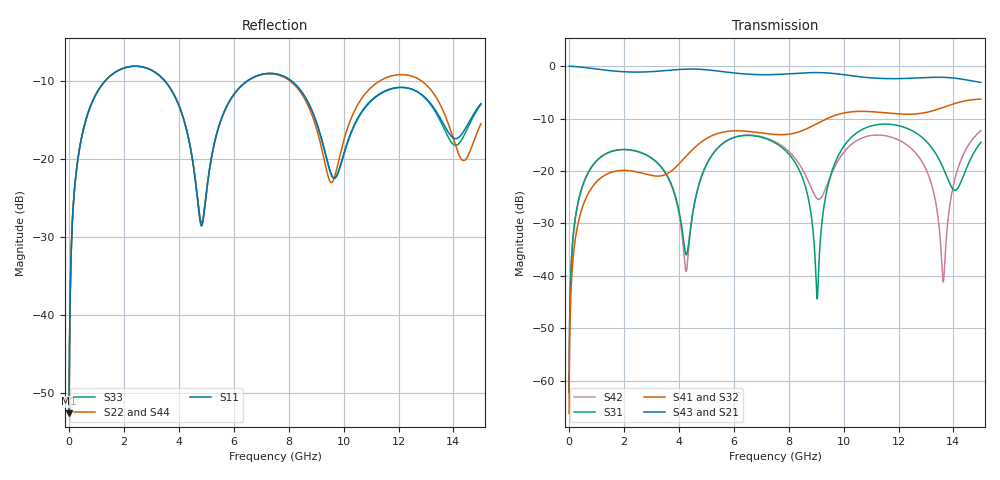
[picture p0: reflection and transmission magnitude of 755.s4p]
! Created with skrf 1.8.0 (http://scikit-rf.org).
# GHz S RI R 50.0
!freq ReS11 ImS11 ReS12 ImS12 ReS13 ImS13
! ReS14 ImS14
! ReS21 ImS21 ReS22 ImS22 ReS23 ImS23
! ReS24 ImS24
! ReS31 ImS31 ReS32 ImS32 ReS33 ImS33
! ReS34 ImS34
! ReS41 ImS41 ReS42 ImS42 ReS43 ImS43
! ReS44 ImS44
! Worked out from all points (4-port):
!   2499 points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, 5 MHz to 15 GHz, reference 50 ohm
!   strongest paths, dB at 5 MHz, 3.476 GHz, 7.19 GHz, 11.1 GHz, 15 GHz:
!     S43: 0.0, -0.9, -1.6, -2.3, -3.1
!     S21: 0.0, -0.9, -1.6, -2.3, -3.1
!     S41: -66.2, -20.8, -12.9, -8.7, -6.3
!     S32: -66.2, -20.8, -12.9, -8.8, -6.3
!     S31: -62.2, -20.1, -13.9, -11.3, -14.5
!     S42: -62.2, -20.2, -13.8, -13.2, -12.3
!   lowest |S11| = -52.7 dB at 5 MHz (marker M1), VSWR 1.00, Z = 50.2 + j0.141 ohm
!   |S11| at or under -10 dB: start of sweep to 1.326 GHz; 3.479 GHz to 6.51 GHz (3.031 GHz wide, 60.7 % of centre); 8.088 GHz to end of sweep
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0.005  0.00186 0.00141  0.9981 -0.00361  9.52e-05 0.000771  -9.22e-05 -0.000478
       0.9981 -0.00361  0.00186 0.00141  -9.22e-05 -0.000478  9.52e-05 0.000771
       9.52e-05 0.000771  -9.22e-05 -0.000478  0.00186 0.00141  0.9981 -0.00361
       -9.22e-05 -0.000478  9.52e-05 0.000771  0.9981 -0.00361  0.00186 0.00141
1.369321  0.2695 0.1767  0.5492 -0.7284  0.1327 0.0633  -0.0928 -0.00625
          0.5492 -0.7284  0.2698 0.1765  -0.0927 -0.00631  0.1316 0.0648
          0.1327 0.0633  -0.0927 -0.00631  0.2695 0.1767  0.5492 -0.7283
          -0.0928 -0.00625  0.1316 0.0648  0.5492 -0.7283  0.2698 0.1765
4.651938  0.0391 -0.0465  -0.9187 -0.1733  -0.0134 0.06  -0.0303 0.1713
          -0.9187 -0.1733  0.0397 -0.0473  -0.031 0.1711  -0.00915 0.0611
          -0.0134 0.06  -0.031 0.1711  0.0407 -0.0469  -0.9186 -0.1735
          -0.0303 0.1713  -0.00915 0.0611  -0.9186 -0.1735  0.0384 -0.0482
7.521884  0.3469 -0.0453  0.00881 0.8303  0.1674 -0.0766  0.2094 -0.076
          0.00881 0.8303  0.3438 -0.0499  0.2088 -0.0731  0.1653 -0.0909
          0.1674 -0.0766  0.2088 -0.0731  0.3461 -0.0489  0.00898 0.8308
          0.2094 -0.076  0.1653 -0.0909  0.00898 0.8308  0.3419 -0.0463
9.035015  0.1172 -0.1186  0.7189 0.485  -0.00584 -0.00143  0.1497 -0.2405
          0.7189 0.485  0.1067 -0.1072  0.1531 -0.2383  -0.0481 -0.0256
          -0.00584 -0.00143  0.1531 -0.2383  0.1148 -0.1188  0.7195 0.4845
          0.1497 -0.2405  -0.0481 -0.0256  0.7195 0.4845  0.1073 -0.1048
13.63068  0.1582 -0.0558  -0.5121 -0.5885  -0.0438 -0.0968  -0.2909 0.2798
          -0.5121 -0.5885  0.1512 -0.1338  -0.2975 0.2721  -0.0076 -0.00427
          -0.0438 -0.0968  -0.2975 0.2721  0.1469 -0.0619  -0.5148 -0.5877
          -0.2909 0.2798  -0.0076 -0.00427  -0.5148 -0.5877  0.154 -0.1228
15  0.2133 0.0717  -0.6973 0.0318  0.0917 0.1635  0.0816 0.4773
    -0.6973 0.0318  0.1547 0.0634  0.0726 0.4798  0.1162 0.2127
    0.0917 0.1635  0.0726 0.4798  0.2077 0.0792  -0.6966 0.0351
    0.0816 0.4773  0.1162 0.2127  -0.6966 0.0351  0.1616 0.0661
